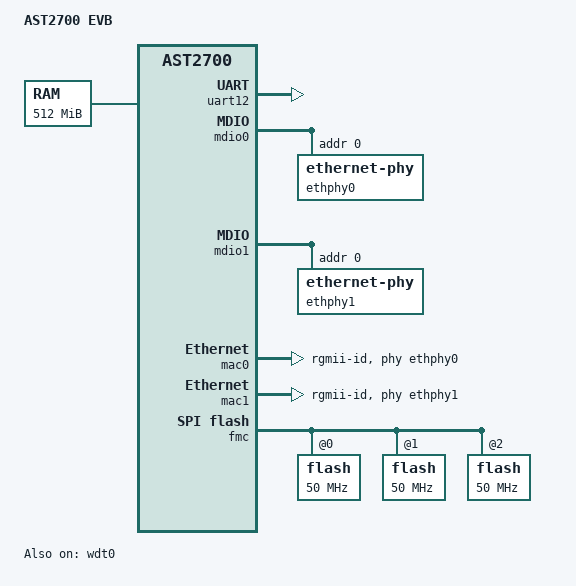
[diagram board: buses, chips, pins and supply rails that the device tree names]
// SPDX-License-Identifier: GPL-2.0+

/dts-v1/;

#include "ast2700.dtsi"
#include "ast2700-u-boot.dtsi"

/ {
	model = "AST2700 EVB";
	compatible = "aspeed,ast2700-evb", "aspeed,ast2700";

	memory@400000000 {
		device_type = "memory";
		reg = <0x4 0x00000000 0x0 0x20000000>;
	};

	chosen {
		stdout-path = &uart12;
	};

};

&uart12 {
	status = "okay";
};

&mdio0 {
	status = "okay";
	#address-cells = <1>;
	#size-cells = <0>;
	ethphy0: ethernet-phy@0 {
		reg = <0>;
	};
};

&mdio1 {
	status = "okay";
	#address-cells = <1>;
	#size-cells = <0>;
	ethphy1: ethernet-phy@0 {
		reg = <0>;
	};
};

&mac0 {
	status = "okay";
	phy-mode = "rgmii-id";
	phy-handle = <&ethphy0>;
	rx-internal-delay-ps = <0>;
	tx-internal-delay-ps = <0>;
};

&mac1 {
	status = "okay";
	phy-mode = "rgmii-id";
	phy-handle = <&ethphy1>;
	rx-internal-delay-ps = <0>;
	tx-internal-delay-ps = <0>;
};

&fmc {
	status = "okay";

	flash@0 {
		status = "okay";
		spi-max-frequency = <50000000>;
		spi-tx-bus-width = <4>;
		spi-rx-bus-width = <4>;
	};

	flash@1 {
		status = "okay";
		spi-max-frequency = <50000000>;
		spi-tx-bus-width = <4>;
		spi-rx-bus-width = <4>;
	};

	flash@2 {
		status = "okay";
		spi-max-frequency = <50000000>;
		spi-tx-bus-width = <4>;
		spi-rx-bus-width = <4>;
	};
};

&wdt0 {
	status = "okay";
};
